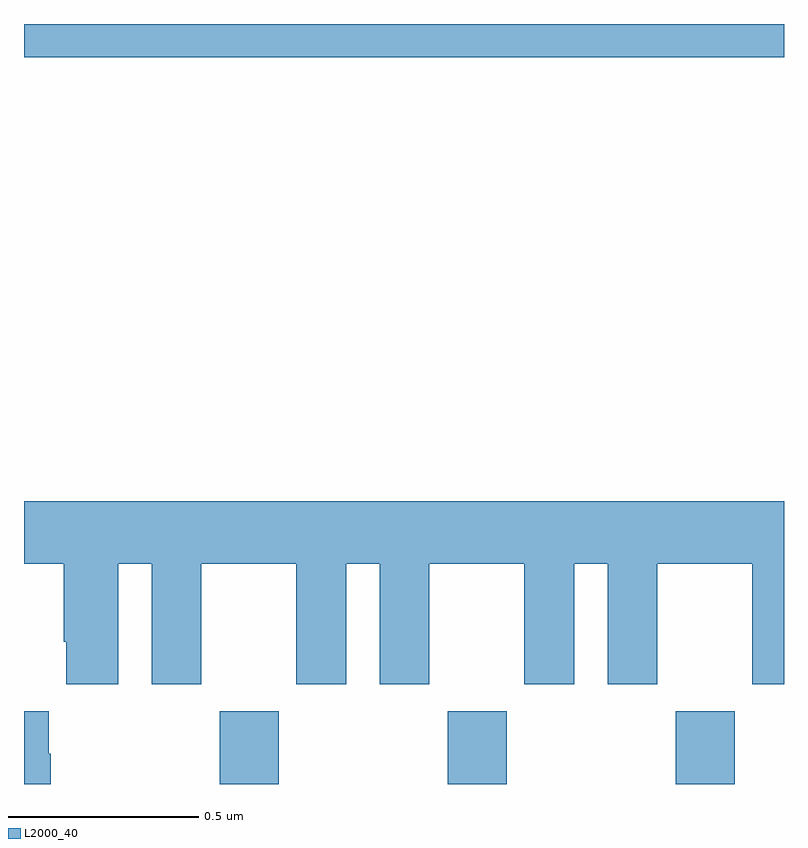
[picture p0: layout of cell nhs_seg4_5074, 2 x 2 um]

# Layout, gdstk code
import gdstk
lib = gdstk.Library(unit=1e-6, precision=1e-09)
def R(c, l, rs):  # rectangles x0, y0, x1, y1
    for r in rs: c.add(gdstk.rectangle(r[:2], r[2:], *l))
def A(c, l, x, y, w, h, nx, ny, dx, dy):  # array of equal rectangles
    R(c, l, [(x+i*dx, y+j*dy, x+i*dx+w, y+j*dy+h) for i in range(nx) for j in range(ny)])
def P(c, l, *ps):  # polygons
    for p in ps: c.add(gdstk.Polygon(p, *l))
L2000_40 = (2000, 40)

nhs_seg4_5074 = lib.new_cell('nhs_seg4_5074')
A(nhs_seg4_5074, L2000_40, 173.515, 802.9, 0.155, 0.192, 3, 1, 0.6, 0)
R(nhs_seg4_5074, L2000_40, [(173,804.812,175,804.9)])
P(nhs_seg4_5074, L2000_40, [(173.248,803.48),(173.336,803.48),(173.336,803.163),(173.467,803.163),(173.467,803.48),(173.717,803.48),(173.717,803.163),(173.848,803.163),(173.848,803.48),(173.936,803.48),(173.936,803.163),(174.067,803.163),(174.067,803.48),(174.317,803.48),(174.317,803.163),(174.448,803.163),(174.448,803.48),(174.536,803.48),(174.536,803.163),(174.667,803.163),(174.667,803.48),(174.917,803.48),(174.917,803.163),(175,803.163),(175,803.644),(173,803.644),(173,803.48),(173.105,803.48),(173.105,803.275),(173.111,803.275),(173.111,803.163),(173.248,803.163)],
  [(173.07,802.979),(173.065,802.979),(173.065,803.092),(173,803.092),(173,802.9),(173.07,802.9)])

lib.write_gds('nhs_seg4_5074.gds')
